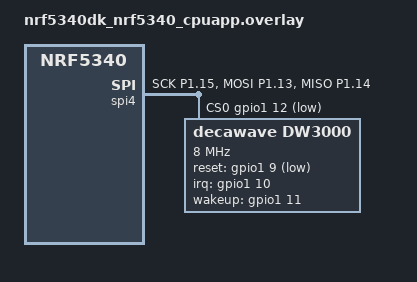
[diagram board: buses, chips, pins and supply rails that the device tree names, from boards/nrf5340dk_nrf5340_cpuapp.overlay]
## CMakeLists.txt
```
# Satellite responder (docs/second-anchor.md stage B): the CRED-tier CCC
# ranging engine minus BLE credential auth. It is a lock that is told the
# session keys (`sat join` on the shell) instead of negotiating them, and it
# transmits Response_1 in the slot the phone reserves when the lock advertises
# ULTRAWIDELOCK_NUM_RESPONDERS=2.
#
# Same module set as the lock's ranging half, same standalone layout as
# examples/zephyr/anchor: no sysbuild bootloader, flashed over SWD, never
# updated over the air. ultrawidelock_cred and ultrawidelock_matter are absent — this node
# never authenticates a credential, which is the whole point.
cmake_minimum_required(VERSION 3.20.0)

get_filename_component(REPO_ROOT "${CMAKE_CURRENT_LIST_DIR}/../../.." ABSOLUTE)

list(APPEND ZEPHYR_EXTRA_MODULES
	"${REPO_ROOT}/modules/ultrawidelock_uwb"
	"${REPO_ROOT}/modules/ultrawidelock_dw3000"
	"${REPO_ROOT}/modules/ultrawidelock_anchor"
	"${REPO_ROOT}/ports/zephyr")

find_package(Zephyr REQUIRED HINTS $ENV{ZEPHYR_BASE})
project(ultrawidelock_satellite)

# Same guard examples/zephyr/anchor/CMakeLists.txt carries, for the same reason:
# recovering debug access costs a mass erase, and a bench image is exactly the
# kind of thing that would inherit the setting from a stray overlay unnoticed.
if(CONFIG_NRF_APPROTECT_LOCK OR CONFIG_NRF_SECURE_APPROTECT_LOCK)
	message(FATAL_ERROR
		"APPROTECT lock is enabled for this image. Refusing to build.\n"
		"  CONFIG_NRF_APPROTECT_LOCK        = ${CONFIG_NRF_APPROTECT_LOCK}\n"
		"  CONFIG_NRF_SECURE_APPROTECT_LOCK = ${CONFIG_NRF_SECURE_APPROTECT_LOCK}\n"
		"See apps/dwm3001cdk-lock/sysbuild.conf for why these boards never lock.")
endif()

target_sources(app PRIVATE
	src/main.c)

# The sealed link needs Thread. Without it the board still ranges and still
# prints, it simply has nobody to tell.
target_sources_ifdef(CONFIG_OPENTHREAD app PRIVATE src/anchor_link.c)
```

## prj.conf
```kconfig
# Satellite responder: CRED-tier CCC engine, keys injected over the shell.
# The UWB and PSA halves mirror the proven configs: the tier block is the
# lock's (apps/dwm3001cdk-lock), the PSA block is examples/zephyr/nrf5340dk-initiator's
# trimmed to the one primitive the CCC key ladder uses (AES-ECB).
CONFIG_MAIN_STACK_SIZE=8192
CONFIG_SYSTEM_WORKQUEUE_STACK_SIZE=8192
CONFIG_STDOUT_CONSOLE=y

# The M1-M4 codec and the cherry shim allocate via qmalloc -> k_malloc.
CONFIG_HEAP_MEM_POOL_SIZE=8192

# --- UWB: the full responder tier --------------------------------------------
# Unlike the initiator example, this board wants exactly the lock's role: the
# whole CCC/credential session engine (ccc_shim_rx and friends). The keys come
# from `sat join` instead of BLE, through the same ultrawidelock_uwb_start_cred()
# entry the credential M4 uses.
CONFIG_ULTRAWIDELOCK_UWB=y
CONFIG_ULTRAWIDELOCK_UWB_RESPONDER=y
CONFIG_ULTRAWIDELOCK_CRED=y

# Stage B re-run: this build is responder 1 of a 2-responder round, answering
# Response_1 in slot 3. The first attempt concluded the phone would not report a
# second responder, but that run was made with a 64-byte SP0 stash against a
# 65-byte two-record Final_Data, so any block where the phone DID report both
# was discarded before the decode. Both values must match the lock image or the
# RangingConfiguration SaltedHash diverges and nothing decodes.
CONFIG_ULTRAWIDELOCK_NUM_RESPONDERS=2
CONFIG_ULTRAWIDELOCK_RESPONDER_INDEX=1

# Mandatory here, not optional: on a silent block this anchor has no Response TX
# timestamp for the round, and the live-recompute path (the dual-core nRF5340
# default) would pair a stale t3 with this round's t2/t6 and latch a garbage
# distance, resetting the layer-4 trust run every second block. The snapshot
# path is consume-once and fails closed instead, which is exactly what
# alternation needs — and is the path the lock has always run.
CONFIG_ULTRAWIDELOCK_UWB_FINAL_SNAPSHOT=y

# The `ultrawidelock` console drives the driver, which is not brought up until the
# first `sat join`; keep it out the way the CDK does.
CONFIG_ULTRAWIDELOCK_UWB_SHELL=n

# DW3110 on the DWM3000EVB is the DW3000 branch; same lines and reasons as
# examples/zephyr/nrf5340dk-initiator/prj.conf:45-59.
CONFIG_DW3000=y
CONFIG_DW3000_CHIP_DW3000=y
CONFIG_SPI_ASYNC=y

CONFIG_LOG=y
CONFIG_LOG_MODE_DEFERRED=y
CONFIG_LOG_BUFFER_SIZE=4096

# Console and shell share uart0, which interleaves: the shell redraws its prompt
# around every asynchronous printk and shreds the per-frame ranging trace into
# fragments. That is ugly and it is survivable -- the stage B verdict was read
# out of exactly such a log with `grep -ao`.
#
# TRIED AND REVERTED 2026-08-21: moving the console to RTT (UART_CONSOLE=n,
# RTT_CONSOLE=y) splits them cleanly and the Kconfig takes, but the diagnostics
# then only exist inside `probe-rs attach`, which aborts its output loop with
# "Failed to create readline" when stdout is a file. Clean output nobody can
# capture is worse than messy output that lands in a log, so the trace stays on
# UART until there is a reader for the other path.

# Key injection happens on the UART shell (DK VCOM): paste the SAT-HANDOFF
# line the lock prints. First light stays on this wire so radio coexistence
# cannot masquerade as protocol failure (docs/second-anchor.md, risks).
CONFIG_SHELL=y

# --- PSA crypto ---------------------------------------------------------------
CONFIG_NRF_SECURITY=y
CONFIG_MBEDTLS_PSA_CRYPTO_C=y

# PSA working buffers come from the mbedTLS heap; without it psa_import_key
# fails with -141 (PSA_ERROR_INSUFFICIENT_MEMORY).
CONFIG_MBEDTLS_ENABLE_HEAP=y
CONFIG_MBEDTLS_HEAP_SIZE=16384

# The CCC key schedule (ccc_kdf.c) is built entirely on one AES-ECB block
# encrypt, reached through ccc_crypto_psa.c. Without ECB_NO_PADDING it fails
# at RUNTIME with NOT_SUPPORTED, not at build (initiator prj.conf:126-132).
CONFIG_PSA_WANT_KEY_TYPE_AES=y
CONFIG_PSA_WANT_ALG_ECB_NO_PADDING=y
CONFIG_PSA_WANT_GENERATE_RANDOM=y
```

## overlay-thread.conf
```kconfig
# Thread on the satellite, so its ranges can reach the lock over the sealed
# link. OPT-IN, via `make sat-build SAT_THREAD=1`, and deliberately so: the
# ranging arm margin measured without it is the number this config has to be
# judged against, and that comparison is impossible if there is only one build.
#
# STANDALONE OpenThread, mirroring apps/dwm3001cdk-lock/overlay-thread.conf: no
# NET_L2_OPENTHREAD, so no NETWORKING, no NET_IPV6, no NET_UDP and no
# NET_SOCKETS. witness_link.c already talks to otUdpOpen/otUdpBind directly, so
# the L2 would be carrying a Zephyr socket API nothing on this path uses.
CONFIG_OPENTHREAD=y
CONFIG_OPENTHREAD_MTD=y
CONFIG_OPENTHREAD_MANUAL_START=y

# MED, not SED. CONFIG_OPENTHREAD_MTD_SED is deliberately NOT set.
#
# CORRECTED 2026-08-21: an earlier version of this comment argued a 500 ms poll
# period would land every report three blocks late. That is wrong, and the
# reasoning was borrowed from the retired BLE witness anyway. A sleepy child's
# poll period gates DOWNLINK -- when it collects what its parent is holding for
# it -- and a sleepy child transmits uplink whenever it likes. Reports would not
# have been delayed by it at all.
#
# MED is still the right choice, for the smaller reason: anything the LOCK ever
# needs to send this board -- a challenge, a rekey, the session handoff once it
# moves off the UART -- waits a poll period on an SED. This board is
# mains-powered and has no BLE duty to schedule around, so there is nothing to
# buy with the sleep.

# The nRF5340's 802.15.4 radio lives on the NETWORK core, unlike the
# DWM3001CDK's nRF52833 where it is on-core. The app core reaches it through
# the serialisation host; the net-core image itself is selected in
# sysbuild-thread.conf.
CONFIG_NRF_802154_SER_HOST=y

# OpenThread's own thread plus the workqueue it defers onto. Same sizes the
# lock runs, which is the only place these have been exercised.
CONFIG_OPENTHREAD_THREAD_STACK_SIZE=4096
CONFIG_SYSTEM_WORKQUEUE_STACK_SIZE=8192
CONFIG_MAIN_STACK_SIZE=8192

# The shell STAYS. Unlike the lock, this board still needs `sat join` to receive
# its session keys, and until the handoff itself moves onto the sealed link a
# console is the only way they arrive.
#
# ON RTT, NOT THE UART, chosen 2026-08-21 for a reason that turned out NOT to be
# the one first written here.
#
# What is true: RTT has been reliable on this board throughout, and it is the
# transport that can still print a fault dump when the shell thread dies. Two
# real defects found that day -- an OpenThread mutex deadlock and a shell stack
# overflow -- both present as "the console stopped answering", and on the UART
# backend the Zephyr fatal-error dump goes to a console that is no longer
# running. Moving the shell here is what made them legible.
#
# WHAT IS NOT TRUE, corrected the same day: an earlier version of this comment
# blamed hardware flow control, claiming the DK's VCOM would not hold CTS
# asserted. Flow control is OFF on this board, both ends. The board DTS sets no
# `hw-flow-control` on &uart0, so the driver runs NRF_UARTE_HWFC_DISABLED and
# the UARTE ignores CTS entirely; all pinctrl leaves behind is RTS on P0.19
# driven high once at init, which is harmless. Board TX was never gated. The
# story survived for hours only because nobody grepped the DTS for the property
# that would have enabled it.
#
# Logs ride the shell backend so one stream carries both; CONFIG_LOG_BACKEND_RTT
# would otherwise fight the shell for the same channel.
CONFIG_SHELL_BACKEND_SERIAL=n
CONFIG_SHELL_BACKEND_RTT=y
CONFIG_SHELL_LOG_BACKEND=y
CONFIG_LOG_BACKEND_RTT=n
# The default 10 ms poll is what makes an RTT shell feel like a dead one.
CONFIG_SHELL_RTT_RX_POLL_PERIOD=10
# The down-buffer defaults to 16 bytes and RTT DROPS what does not fit rather
# than blocking, so a long line arrives as its first few characters and the
# shell reports a parameter-count error against a command nobody typed. A
# dataset command is 226 characters; this holds one with room to spare.
CONFIG_SEGGER_RTT_BUFFER_SIZE_DOWN=512

# `sat dataset` overflows the default 2 KB shell stack and takes the board down
# with "ZEPHYR FATAL ERROR 2: Stack overflow ... Current thread: shell_rtt".
# It is a stack-hungry command by nature: a 254-byte buffer in the handler, a
# ~255-byte otOperationalDatasetTlvs below it, and then the whole OpenThread
# start path on top of both. Worth knowing that on the UART backend the same
# crash was invisible -- the fault dump goes to a console that could not
# transmit -- so it read as a hung shell for hours.
CONFIG_SHELL_STACK_SIZE=8192
```

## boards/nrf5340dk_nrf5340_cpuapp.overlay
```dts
/*
 * DWM3000EVB on the nRF5340 DK Arduino header, for the satellite responder.
 *
 * Copied verbatim from examples/zephyr/nrf5340dk-initiator/boards/, which is
 * itself the DW3000 half of apps/nrf5340dk-lock/overlays/dw3000-nfc.overlay —
 * the wiring proven on this bench (HV-3, 2026-08-06: raw DEV_ID reads
 * 0xdeca0302). See that file for why the NFC half cannot come along.
 *
 * DW3000 (DWM3000EVB) on SPIM4: SCK P1.15, MOSI P1.13, MISO P1.14, CS P1.12,
 *   RSTn P1.09, IRQ P1.10, WAKEUP P1.11 (Arduino header, seated shield).
 */

&pinctrl {
	spi4_default: spi4_default {
		group1 {
			psels = <NRF_PSEL(SPIM_SCK,  1, 15)>,
				<NRF_PSEL(SPIM_MOSI, 1, 13)>,
				<NRF_PSEL(SPIM_MISO, 1, 14)>;
		};
	};

	spi4_sleep: spi4_sleep {
		group1 {
			psels = <NRF_PSEL(SPIM_SCK,  1, 15)>,
				<NRF_PSEL(SPIM_MOSI, 1, 13)>,
				<NRF_PSEL(SPIM_MISO, 1, 14)>;
			low-power-enable;
		};
	};
};

&spi4 {
	status = "okay";
	pinctrl-0 = <&spi4_default>;
	pinctrl-1 = <&spi4_sleep>;
	pinctrl-names = "default", "sleep";
	cs-gpios = <&gpio1 12 GPIO_ACTIVE_LOW>;

	dw3000: dw3000@0 {
		compatible = "decawave,dw3000";
		reg = <0>;
		/* 8 MHz, the proven value; the probe runs at a hard-coded 2 MHz
		 * regardless (ports/zephyr/dw3000/dw3000_spi.c:47-49). */
		spi-max-frequency = <8000000>;
		reset-gpios  = <&gpio1  9 GPIO_ACTIVE_LOW>;
		irq-gpios    = <&gpio1 10 GPIO_ACTIVE_HIGH>;
		wakeup-gpios = <&gpio1 11 GPIO_ACTIVE_HIGH>;
	};
};

&gpio1 {
	status = "okay";
};
```

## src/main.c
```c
/* SPDX-License-Identifier: ISC */

/*
 * Satellite responder (docs/second-anchor.md stage B).
 *
 * The whole ranging engine is the module's: ultrawidelock_uwb_start_cred() brings up
 * the radio, stands up the permanent Pre-POLL listen, and runs the responder
 * round from there (pre-poll recovery means no time sync is needed — the
 * first decrypted Pre-POLL carries Poll_STS_Index). This file only supplies
 * what BLE negotiation supplies on the lock: the session keys and PHY, pasted
 * from the lock's SAT-HANDOFF log line:
 *
 *   sat join <ursk-hex64> <rcfg-hex34> <channel> <sync-code>
 *
 * Everything else the engine needs is inside rcfg[17]: session id (bytes
 * 4..7), STS_Index0 (8..11), responder count (12), RAN multiplier (13),
 * slots per round (14), chaps per slot (15).
 */

#include <stdint.h>
#include <stdlib.h>
#include <string.h>

#include <zephyr/kernel.h>
#include <zephyr/shell/shell.h>
#include <zephyr/logging/log.h>
#include <zephyr/sys/util.h>
#if defined(CONFIG_OPENTHREAD)
#include "anchor_link.h"
#endif
#include <zephyr/sys/printk.h>
#include <psa/crypto.h>

#include <ultrawidelock/uwb.h>

#define SAT_URSK_LEN 32u
#define SAT_RCFG_LEN 17u

/* The cfg struct keeps pointers, and the engine reads the URSK again on every
 * Pre-POLL decode, so both live for the session, not the shell command. */
static uint8_t s_ursk[SAT_URSK_LEN];
static uint8_t s_rcfg[SAT_RCFG_LEN];

static int hex_nibble(char c)
{
	if (c >= '0' && c <= '9') {
		return c - '0';
	}
	if (c >= 'a' && c <= 'f') {
		return c - 'a' + 10;
	}
	if (c >= 'A' && c <= 'F') {
		return c - 'A' + 10;
	}
	return -1;
}

/** @brief Parse exactly 2*len hex chars into out; -1 on bad length or char. */
static int hex_parse(const char *s, uint8_t *out, size_t len)
{
	if (strlen(s) != 2u * len) {
		return -1;
	}
	for (size_t i = 0; i < len; i++) {
		int hi = hex_nibble(s[2 * i]);
		int lo = hex_nibble(s[2 * i + 1]);

		if (hi < 0 || lo < 0) {
			return -1;
		}
		out[i] = (uint8_t)((hi << 4) | lo);
	}
	return 0;
}

static int cmd_sat_join(const struct shell *sh, size_t argc, char **argv)
{
	struct ultrawidelock_uwb_cred_cfg cfg = {0};
	int rc;

	ARG_UNUSED(argc);
	if (hex_parse(argv[1], s_ursk, SAT_URSK_LEN) != 0) {
		shell_error(sh, "ursk: want %u hex chars", 2u * SAT_URSK_LEN);
		return -EINVAL;
	}
	if (hex_parse(argv[2], s_rcfg, SAT_RCFG_LEN) != 0) {
		shell_error(sh, "rcfg: want %u hex chars", 2u * SAT_RCFG_LEN);
		return -EINVAL;
	}
	/* rcfg[12] is the responder count baked into the SaltedHash. If it does
	 * not match this build, every derived STS diverges and nothing decodes —
	 * refuse loudly instead of listening to silence. */
	if (s_rcfg[12] != CONFIG_ULTRAWIDELOCK_NUM_RESPONDERS) {
		shell_error(sh, "rcfg says %u responders, this build is %u — rebuild one side",
			    s_rcfg[12], CONFIG_ULTRAWIDELOCK_NUM_RESPONDERS);
		return -EINVAL;
	}

	cfg.session_id = ((uint32_t)s_rcfg[4] << 24) | ((uint32_t)s_rcfg[5] << 16) |
			 ((uint32_t)s_rcfg[6] << 8) | s_rcfg[7];
	cfg.sts_index0 = ((uint32_t)s_rcfg[8] << 24) | ((uint32_t)s_rcfg[9] << 16) |
			 ((uint32_t)s_rcfg[10] << 8) | s_rcfg[11];
	cfg.block_duration_ms = (uint32_t)s_rcfg[13] * 96u;
	cfg.slot_per_round = s_rcfg[14];
	cfg.slot_duration_rstu = (uint16_t)(s_rcfg[15] * 400u);
	cfg.channel = (uint8_t)strtoul(argv[3], NULL, 10);
	cfg.sync_code_index = (uint8_t)strtoul(argv[4], NULL, 10);
	cfg.ursk = s_ursk;
	cfg.ranging_config = s_rcfg;
	cfg.rc_len = SAT_RCFG_LEN;

	/* Re-join is the normal case (a new session per walk-up); tear the old
	 * listen down first. A never-started stop is a no-op. */
	ultrawidelock_uwb_stop();
	rc = ultrawidelock_uwb_start_cred(&cfg);
	if (rc != 0) {
		shell_error(sh, "start_cred rc=%d", rc);
		return rc;
	}
	shell_print(sh, "SAT joined sid=0x%08x sts0=0x%08x spr=%u ch=%u code=%u resp=%u/%u",
		    cfg.session_id, cfg.sts_index0, cfg.slot_per_round, cfg.channel,
		    cfg.sync_code_index, CONFIG_ULTRAWIDELOCK_RESPONDER_INDEX,
		    CONFIG_ULTRAWIDELOCK_NUM_RESPONDERS);
	return 0;
}

static int cmd_sat_stop(const struct shell *sh, size_t argc, char **argv)
{
	ARG_UNUSED(argc);
	ARG_UNUSED(argv);
	ultrawidelock_uwb_stop();
	shell_print(sh, "SAT stopped");
	return 0;
}

LOG_MODULE_REGISTER(sat, LOG_LEVEL_INF);

#if defined(CONFIG_OPENTHREAD)
/*
 * The link key. Typed here rather than baked in, because a key in the image is
 * a key in the repository -- and it must match the lock's `anckey` byte for
 * byte or every report is discarded as unopenable, which at the lock looks
 * exactly like an anchor that never booted.
 */
static int cmd_sat_key(const struct shell *sh, size_t argc, char **argv)
{
	uint8_t key[16];
	size_t hex_len;
	int rc;

	ARG_UNUSED(argc);

	hex_len = strlen(argv[1]);
	if (hex_len != 2u * sizeof(key) ||
	    hex2bin(argv[1], hex_len, key, sizeof(key)) != sizeof(key)) {
		shell_error(sh, "key must be exactly %u hex characters",
			    (unsigned)(2u * sizeof(key)));
		return -EINVAL;
	}
	rc = anchor_link_set_key(key, sizeof(key));
	if (rc != 0) {
		shell_error(sh, "storing the key rc=%d", rc);
		return rc;
	}
	shell_print(sh, "stored; reports %s",
		    anchor_link_ready() ? "will be sent" : "wait for the Thread link");
	return 0;
}
#endif

#if defined(CONFIG_OPENTHREAD)
/* The lock's Active Operational Dataset, as raw TLV hex. Mesh membership only:
 * this board joins no Matter fabric and does not need one to send UDP. */
static int cmd_sat_dataset(const struct shell *sh, size_t argc, char **argv)
{
	uint8_t tlvs[254];
	size_t hex_len;
	size_t n;
	int rc;

	ARG_UNUSED(argc);

	hex_len = strlen(argv[1]);
	if ((hex_len % 2u) != 0u || hex_len / 2u > sizeof(tlvs)) {
		shell_error(sh, "dataset must be an even number of hex chars, <= %u bytes",
			    (unsigned)sizeof(tlvs));
		return -EINVAL;
	}
	n = hex2bin(argv[1], hex_len, tlvs, sizeof(tlvs));
	if (n != hex_len / 2u) {
		shell_error(sh, "not hex");
		return -EINVAL;
	}
	rc = anchor_link_set_dataset(tlvs, n);
	if (rc != 0) {
		shell_error(sh, "dataset rejected rc=%d", rc);
		return rc;
	}
	shell_print(sh, "dataset set (%u B); attaching", (unsigned)n);
	return 0;
}

/* One line, because three separate things have to be true before a single
 * report can reach the lock and they fail in ways that look identical. */
static int cmd_sat_link(const struct shell *sh, size_t argc, char **argv)
{
	ARG_UNUSED(argc);
	ARG_UNUSED(argv);

	shell_print(sh, "key %s | thread %s | socket %s",
		    anchor_link_ready() ? "yes" : "NO",
		    anchor_link_attached() ? "attached" : "NOT attached",
		    anchor_link_ready() ? "open" : "check");
	return 0;
}
#endif

SHELL_STATIC_SUBCMD_SET_CREATE(sat_cmds,
	SHELL_CMD_ARG(join, NULL, "join <ursk-hex64> <rcfg-hex34> <channel> <sync-code>",
		      cmd_sat_join, 5, 0),
	SHELL_CMD_ARG(stop, NULL, "stop ranging and quiesce the radio", cmd_sat_stop, 1, 0),
#if defined(CONFIG_OPENTHREAD)
	SHELL_CMD_ARG(key, NULL, "set the sealed-link key: `key <hex32>` (same bytes as the "
		      "lock's `anckey`)", cmd_sat_key, 2, 0),
	SHELL_CMD_ARG(dataset, NULL, "join the lock's Thread network: `dataset <tlv-hex>`",
		      cmd_sat_dataset, 2, 0),
	SHELL_CMD_ARG(link, NULL, "sealed-link status", cmd_sat_link, 1, 0),
#endif
	SHELL_SUBCMD_SET_END);
SHELL_CMD_REGISTER(sat, &sat_cmds, "satellite responder (stage B)", NULL);

int main(void)
{
	psa_status_t st = psa_crypto_init();

	if (st != PSA_SUCCESS) {
		printk("SAT psa_crypto_init failed (%d)\n", (int)st);
		return 0;
	}
#if defined(CONFIG_OPENTHREAD)
	/* After psa_crypto_init: the link seals with PSA and would fail every
	 * report if it opened first. */
	anchor_link_init();
#endif
	printk("SAT satellite responder %u/%u — waiting for `sat join`\n",
	       CONFIG_ULTRAWIDELOCK_RESPONDER_INDEX, CONFIG_ULTRAWIDELOCK_NUM_RESPONDERS);

	/* Range reporter: the engine's own logs are budgeted per session, so
	 * poll the generation counter and print every latched range — this line
	 * against the tape is stage B's second pass criterion. */
	uint32_t last_gen = ultrawidelock_uwb_range_generation();

	for (;;) {
		uint32_t gen = ultrawidelock_uwb_range_generation();
		int32_t cm;

		if (gen != last_gen && ultrawidelock_uwb_last_range_cm(&cm)) {
			uint32_t blk = 0u;

			/* Same line the lock prints, so the two captures can be
			 * JOINED ON BLOCK afterwards and subtracted at an instant
			 * where the true difference is known. Deliberately here in
			 * the main loop and not in the ranging callback: the
			 * per-frame trace is throttled per BOOT, so it stops after
			 * the first few blocks and never overlaps the other
			 * anchor's capture. This one prints for every range. */
			if (ultrawidelock_uwb_trusted_range_block_cm(&cm, &blk)) {
				/* LOG_INF, not printk. The shell's serial backend
				 * installs itself as the printk hook, so printk
				 * lands on the UART it shares with the prompt --
				 * which shreds the line -- regardless of what
				 * zephyr,console is set to. The logging subsystem
				 * has its own backend, so this reaches RTT intact
				 * while `sat join` keeps arriving on the UART. */
				LOG_INF("pair sid=%08x blk=%u mm=%d",
					(unsigned)ultrawidelock_uwb_session_id(),
					(unsigned)blk, (int)(cm * 10));
#if defined(CONFIG_OPENTHREAD)
				/* The report the lock actually acts on. The log
				 * line above stays: it is what the bench joins
				 * against the lock's, and it keeps working when
				 * the link is down. */
				anchor_link_report(cm * 10, blk);
#endif
			}
			last_gen = gen;
			printk("SAT range %d cm (gen %u)\n", (int)cm, (unsigned)gen);
		}
		k_sleep(K_MSEC(200));
	}
	return 0;
}
```

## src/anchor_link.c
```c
/* SPDX-License-Identifier: ISC */

/**
 * @file anchor_link.c — the satellite's half of the sealed link.
 *
 * Sends one WV3 report per accepted range: this anchor's own measured distance
 * to the phone, and the ranging block it was measured in. Same socket, same
 * seal and same port as the lock's other peers; the version byte is what tells
 * them apart, so nothing here needs to know about any other message family.
 *
 * The block is not decoration. A distance without the round it belongs to
 * cannot be paired with the lock's own -- the two anchors only mean something
 * together if they are describing the same instant, and the block is the one
 * exact integer both of them read off the initiator's own frames.
 *
 * SENDING IS UNCONDITIONAL AND CARRIES NO AUTHORITY. Every rule that matters is
 * enforced at the lock: the seal proves the key, the counter catches replay,
 * the block decides what this pairs with, and the fusion gate decides what the
 * pair means. A satellite that lies, floods or goes silent costs a passive
 * unlock; it cannot cause one.
 */

#include <string.h>

#include <zephyr/kernel.h>
#include <zephyr/logging/log.h>
#include <zephyr/random/random.h>
#include <zephyr/settings/settings.h>

#include <openthread/dataset.h>
#include <openthread/instance.h>
#include <openthread/ip6.h>
#include <openthread/message.h>
#include <openthread/thread.h>
#include <openthread/udp.h>
#include <zephyr/net/openthread.h>

#include <psa/crypto.h>

#include "anchor_link.h"
#include "ultrawidelock_witness_msg.h"

LOG_MODULE_REGISTER(anclink, LOG_LEVEL_INF);

#define KEY_LEN        16u
#define CCM_NONCE_LEN  13u
#define CCM_TAG_LEN    8u
#define ANCHOR_PORT    CONFIG_ULTRAWIDELOCK_WITNESS_PORT

static otUdpSocket s_sock;
static bool s_open;
static uint8_t s_key[KEY_LEN];
static bool s_provisioned;
/*
 * Fresh per boot, so a counter that legitimately restarts at zero after a power
 * cut is distinguishable from a replay of the reports that preceded it. Without
 * it the lock's only options would be accepting replays or locking out an
 * anchor that lost power.
 */
static uint32_t s_boot_id;
static uint32_t s_ctr;
/* The lock's current challenge, echoed back so it can tell a live report from a
 * recorded one. Zero until one is heard; the lock only challenges while a
 * credential session is up. */
static uint64_t s_echo_nonce;

/** Seal a payload: nonce ‖ ciphertext ‖ tag, exactly what the lock unseals. */
static size_t seal(const uint8_t *plain, size_t plain_len, uint8_t *out, size_t cap)
{
	psa_key_attributes_t attr = PSA_KEY_ATTRIBUTES_INIT;
	psa_key_id_t key = PSA_KEY_ID_NULL;
	psa_algorithm_t alg = PSA_ALG_AEAD_WITH_SHORTENED_TAG(PSA_ALG_CCM, CCM_TAG_LEN);
	size_t ct_len = 0;
	psa_status_t st;

	if (cap < CCM_NONCE_LEN + plain_len + CCM_TAG_LEN) {
		return 0;
	}
	/*
	 * Explicit nonce, and it must never repeat under one key: role, boot_id,
	 * counter, then zeros. The counter is what makes it unique within a boot
	 * and the boot_id across boots.
	 */
	memset(out, 0, CCM_NONCE_LEN);
	out[0] = (uint8_t)CONFIG_ULTRAWIDELOCK_ANCHOR_ROLE;
	out[1] = (uint8_t)(s_boot_id >> 24);
	out[2] = (uint8_t)(s_boot_id >> 16);
	out[3] = (uint8_t)(s_boot_id >> 8);
	out[4] = (uint8_t)s_boot_id;
	out[5] = (uint8_t)(s_ctr >> 24);
	out[6] = (uint8_t)(s_ctr >> 16);
	out[7] = (uint8_t)(s_ctr >> 8);
	out[8] = (uint8_t)s_ctr;

	psa_set_key_usage_flags(&attr, PSA_KEY_USAGE_ENCRYPT);
	psa_set_key_algorithm(&attr, alg);
	psa_set_key_type(&attr, PSA_KEY_TYPE_AES);
	psa_set_key_bits(&attr, KEY_LEN * 8u);
	if (psa_import_key(&attr, s_key, KEY_LEN, &key) != PSA_SUCCESS) {
		return 0;
	}
	st = psa_aead_encrypt(key, alg, out, CCM_NONCE_LEN, NULL, 0, plain, plain_len,
			      out + CCM_NONCE_LEN, cap - CCM_NONCE_LEN, &ct_len);
	(void)psa_destroy_key(key);
	if (st != PSA_SUCCESS) {
		return 0;
	}
	return CCM_NONCE_LEN + ct_len;
}

/**
 * The lock's challenge. Unauthenticated on purpose: it is a freshness beacon,
 * not a command. Echoing the wrong one costs this report its standing; it
 * cannot make the lock do anything.
 */
static void udp_rx(void *ctx, otMessage *msg, const otMessageInfo *info)
{
	uint8_t body[12];
	uint16_t len;

	ARG_UNUSED(ctx);
	ARG_UNUSED(info);

	len = otMessageGetLength(msg) - otMessageGetOffset(msg);
	if (len != 9u) {
		return; /* not a challenge; the lock's reports are not for us */
	}
	if (otMessageRead(msg, otMessageGetOffset(msg), body, len) != len) {
		return;
	}
	if (body[0] != ULTRAWIDELOCK_WITNESS_MSG_VER) {
		return;
	}
	s_echo_nonce = 0u;
	for (int i = 0; i < 8; i++) {
		s_echo_nonce = (s_echo_nonce << 8) | (uint64_t)body[1 + i];
	}
}

void anchor_link_report(int32_t peer_mm, uint32_t ranging_block)
{
	struct ultrawidelock_anchor_msg am;
	uint8_t plain[ULTRAWIDELOCK_ANCHOR_MSG_LEN];
	uint8_t sealed[CCM_NONCE_LEN + ULTRAWIDELOCK_ANCHOR_MSG_LEN + CCM_TAG_LEN];
	otInstance *ot = openthread_get_default_instance();
	otMessageInfo info;
	otMessage *msg;
	size_t plain_len;
	size_t sealed_len;

	if (!s_open || !s_provisioned || ot == NULL || peer_mm < 0) {
		return;
	}

	memset(&am, 0, sizeof(am));
	am.ver = ULTRAWIDELOCK_ANCHOR_MSG_VER;
	am.role = (uint8_t)CONFIG_ULTRAWIDELOCK_ANCHOR_ROLE;
	am.boot_id = s_boot_id;
	am.ctr = ++s_ctr; /* pre-increment: the nonce below must match this */
	am.echo_nonce = s_echo_nonce;
	am.ranging_block = (uint16_t)ranging_block;
	am.peer_mm = peer_mm;

	plain_len = ultrawidelock_anchor_msg_encode(&am, plain, sizeof(plain));
	if (plain_len == 0u) {
		return;
	}
	sealed_len = seal(plain, plain_len, sealed, sizeof(sealed));
	if (sealed_len == 0u) {
		return;
	}

	msg = otUdpNewMessage(ot, NULL);
	if (msg == NULL) {
		return;
	}
	if (otMessageAppend(msg, sealed, (uint16_t)sealed_len) != OT_ERROR_NONE) {
		otMessageFree(msg);
		return;
	}
	memset(&info, 0, sizeof(info));
	/*
	 * Mesh-local all-nodes, matching the witness link's reasoning: this board
	 * is never told the lock's address, so replacing the lock or letting its
	 * address change costs no re-provisioning. Only a holder of the link key
	 * can produce a report, so the broadcast costs a frame and reveals a
	 * distance to nobody who could not already measure one.
	 */
	info.mPeerAddr.mFields.m8[0] = 0xFFu;
	info.mPeerAddr.mFields.m8[1] = 0x03u;
	info.mPeerAddr.mFields.m8[15] = 0x01u;
	info.mPeerPort = ANCHOR_PORT;

	if (otUdpSend(ot, &s_sock, msg, &info) != OT_ERROR_NONE) {
		otMessageFree(msg); /* takes ownership only on success */
	}
}

/**
 * Bring the mesh up on an instance that already holds a dataset.
 *
 * Split out because it is needed twice for different reasons: once when the
 * dataset is typed in, and once at every boot after that. CONFIG_OPENTHREAD_
 * MANUAL_START means nothing starts Thread on its own here, so without the
 * second call the stored dataset is inert and `sat dataset` would have to be
 * retyped after every reset.
 *
 * MUST BE CALLED WITH THE OPENTHREAD MUTEX RELEASED. openthread_run() takes it
 * itself -- the same rule ports/zephyr/matter/matter_thread_port.c:136 spells
 * out. Calling otIp6SetEnabled()/otThreadSetEnabled() under the lock instead
 * deadlocks the caller, and on the shell thread that is indistinguishable from
 * a dead console: the command never returns, the prompt never comes back, and
 * the board looks bricked until it is reset. Cost an hour on 2026-08-21, twice,
 * because the same silence also has a plausible transport explanation.
 */
static int thread_bring_up(void)
{
	return openthread_run();
}

/* Role transitions on the log, because the shell is not always reachable and an
 * anchor that never attaches looks exactly like one that attached and had
 * nothing to say. */
static void role_changed(otChangedFlags flags, void *ctx)
{
	ARG_UNUSED(ctx);

	if ((flags & OT_CHANGED_THREAD_ROLE) == 0u) {
		return;
	}
	LOG_INF("thread role now %d (2=child 3=router 4=leader)",
		(int)otThreadGetDeviceRole(openthread_get_default_instance()));
}

int anchor_link_set_dataset(const uint8_t *tlvs, size_t len)
{
	otInstance *ot = openthread_get_default_instance();
	otOperationalDatasetTlvs ds;
	otError err;

	if (tlvs == NULL || len == 0u || len > sizeof(ds.mTlvs)) {
		return -EINVAL;
	}
	if (ot == NULL) {
		return -ENODEV;
	}

	memset(&ds, 0, sizeof(ds));
	memcpy(ds.mTlvs, tlvs, len);
	ds.mLength = (uint8_t)len;

	/*
	 * The satellite joins the SAME Thread network the lock is on. It is not
	 * a Matter device and joins no fabric: a fabric governs who may invoke
	 * clusters, and this board only needs IPv6 to a peer on the mesh, which
	 * mesh membership alone provides.
	 *
	 * The dataset is typed in rather than commissioned because there is no
	 * commissioner here to talk to, and it is persisted by OpenThread itself
	 * so a reflash without --erase keeps it.
	 */
	openthread_mutex_lock();
	err = otDatasetSetActiveTlvs(ot, &ds);
	openthread_mutex_unlock();

	if (err != OT_ERROR_NONE) {
		LOG_WRN("dataset rejected (ot err %d)", (int)err);
		return -EIO;
	}
	/* Outside the lock. See thread_bring_up(). */
	if (thread_bring_up() != 0) {
		LOG_WRN("dataset stored but OpenThread refused to start");
		return -EIO;
	}
	LOG_INF("dataset accepted (%u B); attaching", (unsigned)len);
	return 0;
}

bool anchor_link_attached(void)
{
	otInstance *ot = openthread_get_default_instance();
	otDeviceRole role;

	if (ot == NULL) {
		return false;
	}
	openthread_mutex_lock();
	role = otThreadGetDeviceRole(ot);
	openthread_mutex_unlock();
	return role == OT_DEVICE_ROLE_CHILD || role == OT_DEVICE_ROLE_ROUTER ||
	       role == OT_DEVICE_ROLE_LEADER;
}

static int anchor_settings_set(const char *name, size_t len, settings_read_cb read_cb,
			       void *cb_arg)
{
	if (len != KEY_LEN || strcmp(name, "lk") != 0) {
		return -ENOENT;
	}
	if (read_cb(cb_arg, s_key, KEY_LEN) != (ssize_t)KEY_LEN) {
		return -EINVAL;
	}
	s_provisioned = true;
	return 0;
}

SETTINGS_STATIC_HANDLER_DEFINE(anchor_link, "sat", NULL, anchor_settings_set, NULL, NULL);

int anchor_link_set_key(const uint8_t *key, size_t len)
{
	int rc;

	if (key == NULL || len != KEY_LEN) {
		return -EINVAL;
	}
	rc = settings_save_one("sat/lk", key, len);
	if (rc != 0) {
		return rc;
	}
	memcpy(s_key, key, KEY_LEN);
	s_provisioned = true;
	return 0;
}

bool anchor_link_ready(void)
{
	return s_open && s_provisioned;
}

void anchor_link_init(void)
{
	otInstance *ot;
	bool commissioned;

	(void)settings_subsys_init();
	(void)settings_load_subtree("sat");

	/* Never zero: a zero boot_id is what an uninitialised variable looks
	 * like, and the lock treats a change of boot_id as permission to accept
	 * a counter that went backwards. */
	do {
		s_boot_id = sys_rand32_get();
	} while (s_boot_id == 0u);
	s_ctr = 0u;

	ot = openthread_get_default_instance();
	if (ot == NULL) {
		LOG_WRN("no Thread instance; anchor reports will not be sent");
		return;
	}
	openthread_mutex_lock();
	if (otUdpOpen(ot, &s_sock, udp_rx, NULL) == OT_ERROR_NONE) {
		otSockAddr addr = {0};

		addr.mPort = ANCHOR_PORT;
		s_open = (otUdpBind(ot, &s_sock, &addr, OT_NETIF_THREAD) == OT_ERROR_NONE);
	}
	(void)otSetStateChangedCallback(ot, role_changed, NULL);
	commissioned = otDatasetIsCommissioned(ot);
	openthread_mutex_unlock();

	/*
	 * A dataset typed in on an earlier boot is persisted by OpenThread but
	 * does not start anything: CONFIG_OPENTHREAD_MANUAL_START leaves the
	 * stack down until something asks. Ask here, so the mesh comes back by
	 * itself after a reset or a reflash and the dataset is typed in exactly
	 * once in this board's life.
	 *
	 * Outside the lock, which is released just above. See thread_bring_up().
	 */
	if (commissioned) {
		LOG_INF("stored dataset found; bringing the mesh up (rc %d)",
			thread_bring_up());
	} else {
		LOG_WRN("no Thread dataset; run `sat dataset <tlv-hex>`");
	}

	if (!s_open) {
		LOG_WRN("anchor link socket did not open");
	} else if (!s_provisioned) {
		/* Loud, because it fails closed and silently otherwise: an
		 * un-provisioned anchor ranges perfectly and reports nothing,
		 * which at the lock is indistinguishable from a board that never
		 * booted. */
		LOG_WRN("anchor link has no key; run `sat key <hex32>`");
	}
}
```

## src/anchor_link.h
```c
/* SPDX-License-Identifier: ISC */

/**
 * @file anchor_link.h — the satellite's half of the sealed link to the lock.
 *
 * One sealed WV3 datagram per accepted range. The lock authenticates it,
 * replay-checks it, and pairs it with its own measurement of the SAME ranging
 * block; nothing here decides anything.
 */

#ifndef ANCHOR_LINK_H
#define ANCHOR_LINK_H

#include <stdbool.h>
#include <stddef.h>
#include <stdint.h>

/**
 * Open the socket, load the link key, and pick a boot id.
 *
 * Safe to call with Thread down or no key stored: reporting simply stays off,
 * and says so on the console, because an anchor that ranges perfectly and
 * reports nothing looks exactly like one that never booted.
 */
void anchor_link_init(void);

/**
 * Seal and send one report.
 *
 * @param peer_mm       this anchor's distance to the phone, millimetres.
 *                      Negative is dropped rather than sent.
 * @param ranging_block the initiator's block it was measured in. Travels with
 *                      the distance because the lock cannot pair a distance
 *                      whose round it does not know.
 */
void anchor_link_report(int32_t peer_mm, uint32_t ranging_block);

/** Store the link key (16 bytes) and persist it. */
int anchor_link_set_key(const uint8_t *key, size_t len);

/** True when the socket is open and a key is stored. */
bool anchor_link_ready(void);

#endif /* ANCHOR_LINK_H */
```
